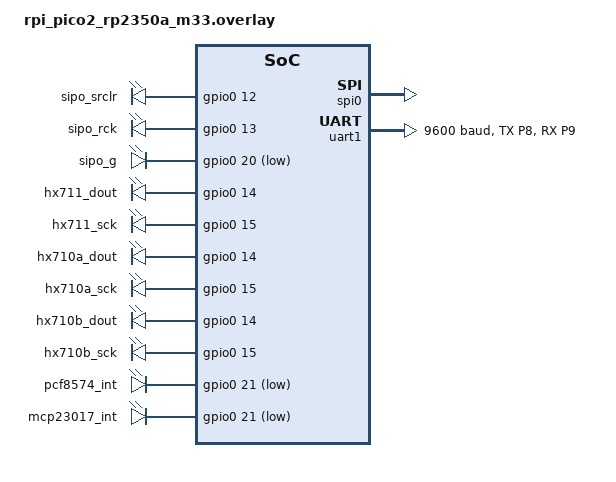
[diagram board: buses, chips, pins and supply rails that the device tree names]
/*
 * Devicetree overlay for building every Periph Zephyr app on the Raspberry Pi
 * Pico 2 (rpi_pico2/rp2350a/m33). cpp/scripts/build-all.sh zephyr passes it
 * with EXTRA_DTC_OVERLAY_FILE; CI uses it for the compile-only Zephyr job.
 *
 * The apps address buses by node label (i2c0, spi0, uart1, gpio0) and GPIO
 * lines by alias or node label (hx711-dout, pcf8574_int, ...). The Pico 2
 * matches those labels, and unlike the nRF52 boards its I2C0 and SPI0 are
 * separate peripherals, so both can be enabled at once. This overlay enables
 * what the board leaves off and gives every GPIO alias a pin.
 *
 * Board pins already in use: GP0/1 UART0 (console), GP4/5 I2C0, GP6/7 I2C1,
 * GP16-19 SPI0, GP25 LED, GP26-29 ADC; this overlay adds GP8/9 UART1 and
 * GP22 as the SPI0 chip select.
 * Chips never share an app, so the HX711/HX710A/HX710B and interrupt
 * aliases reuse the same pins.
 */

#include <zephyr/dt-bindings/gpio/gpio.h>
#include <zephyr/dt-bindings/pinctrl/rpi-pico-rp2350a-pinctrl.h>

&spi0 {
	/* Software chip select; the apps read it as DT_PROP(spi0, cs_gpios). */
	cs-gpios = <&gpio0 22 GPIO_ACTIVE_LOW>;
	status = "okay";
};

&pinctrl {
	uart1_default: uart1_default {
		group1 {
			pinmux = <UART1_TX_P8>;
		};

		group2 {
			pinmux = <UART1_RX_P9>;
			input-enable;
		};
	};
};

&uart1 {
	current-speed = <9600>;
	pinctrl-0 = <&uart1_default>;
	pinctrl-names = "default";
	status = "okay";
};

/ {
	/* gpio-leds only because its binding takes plain `gpios` children. */
	periph_pins {
		compatible = "gpio-leds";

		sipo_srclr: sipo_srclr { gpios = <&gpio0 12 GPIO_ACTIVE_HIGH>; };
		sipo_rck: sipo_rck { gpios = <&gpio0 13 GPIO_ACTIVE_HIGH>; };
		sipo_g: sipo_g { gpios = <&gpio0 20 GPIO_ACTIVE_LOW>; };

		hx711_dout: hx711_dout { gpios = <&gpio0 14 GPIO_ACTIVE_HIGH>; };
		hx711_sck: hx711_sck { gpios = <&gpio0 15 GPIO_ACTIVE_HIGH>; };
		hx710a_dout: hx710a_dout { gpios = <&gpio0 14 GPIO_ACTIVE_HIGH>; };
		hx710a_sck: hx710a_sck { gpios = <&gpio0 15 GPIO_ACTIVE_HIGH>; };
		hx710b_dout: hx710b_dout { gpios = <&gpio0 14 GPIO_ACTIVE_HIGH>; };
		hx710b_sck: hx710b_sck { gpios = <&gpio0 15 GPIO_ACTIVE_HIGH>; };

		pcf8574_int: pcf8574_int { gpios = <&gpio0 21 (GPIO_ACTIVE_LOW | GPIO_PULL_UP)>; };
		mcp23017_int: mcp23017_int { gpios = <&gpio0 21 (GPIO_ACTIVE_LOW | GPIO_PULL_UP)>; };
	};

	aliases {
		sipo-srclr = &sipo_srclr;
		sipo-rck = &sipo_rck;
		sipo-g = &sipo_g;
		hx711-dout = &hx711_dout;
		hx711-sck = &hx711_sck;
		hx710a-dout = &hx710a_dout;
		hx710a-sck = &hx710a_sck;
		hx710b-dout = &hx710b_dout;
		hx710b-sck = &hx710b_sck;
	};
};
